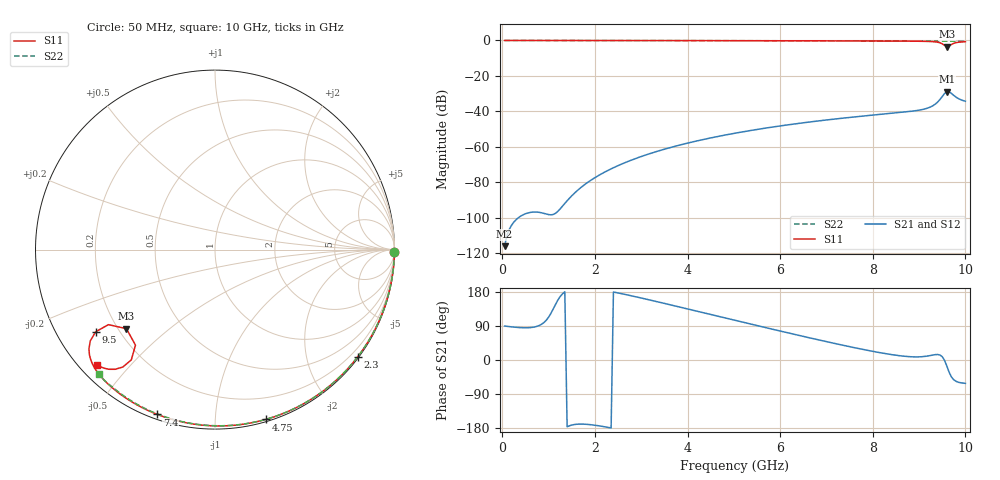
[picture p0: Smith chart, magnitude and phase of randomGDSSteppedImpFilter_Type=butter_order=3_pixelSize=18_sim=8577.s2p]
! freq	dB(S11)	phase(S11)	dB(S12)	phase(S12)
!  dB(S21)	phase(S21)	dB(S22)	phase(S22)
!S-par simulation data
#  GHz  S  DB  R 50
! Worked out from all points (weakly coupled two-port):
!   200 points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, 50 MHz to 10 GHz, reference 50 ohm
!   highest |S21| = -28.88 dB at 9.6 GHz (marker M1); lowest = -116.2 dB at 50 MHz (marker M2)
!   lowest |S11| = -3.6 dB at 9.6 GHz (marker M3), VSWR 4.91, Z = 11.6 - j18.2 ohm
!   |S11| at or under -10 dB: nowhere
!   |S22| runs from -0.4 to 0.0 dB; largest |S21 - S12| = 0
!   S11 on the Smith chart (normalised r, x): 50 MHz: open; 2.3 GHz: 0.03, -3.00; 4.75 GHz: 0.02, -1.34; 7.4 GHz: 0.02, -0.71; 9.5 GHz: 0.12, -0.31; 10 GHz: 0.05, -0.41
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0.05  -0.00 -0.8  -116.18 89.6  -116.18 89.6  -0.00 -0.8
0.9  -0.02 -14.6  -97.67 98.9  -97.67 98.9  -0.02 -13.8
1.75  -0.04 -28.2  -81.97 -169.3  -81.97 -169.3  -0.03 -26.5
1.85  -0.04 -29.8  -80.06 -170.0  -80.06 -170.0  -0.04 -28.0
2.3  -0.05 -36.8  -73.16 -178.2  -73.16 -178.2  -0.04 -34.7
2.8  -0.06 -44.5  -67.46 169.1  -67.46 169.1  -0.05 -41.9
3.4  -0.07 -53.6  -62.18 152.3  -62.18 152.3  -0.07 -50.5
4  -0.09 -62.5  -57.98 134.8  -57.98 134.8  -0.08 -58.9
4.75  -0.11 -73.3  -53.73 112.8  -53.73 112.8  -0.10 -69.1
5.05  -0.12 -77.6  -52.26 104.0  -52.26 104.0  -0.11 -73.1
6.7  -0.19 -100.0  -45.84 56.7  -45.84 56.7  -0.18 -94.2
7.4  -0.24 -109.3  -43.75 37.7  -43.75 37.7  -0.22 -102.7
8.35  -0.32 -122.0  -41.29 15.3  -41.29 15.3  -0.29 -114.0
9.15  -0.51 -134.7  -38.48 9.9  -38.48 9.9  -0.36 -123.3
9.35  -0.79 -140.0  -35.95 14.2  -35.95 14.2  -0.38 -125.5
9.5  -1.86 -145.5  -31.67 8.7  -31.67 8.7  -0.40 -127.2
9.55  -2.78 -144.8  -29.96 -0.9  -29.96 -0.9  -0.40 -127.8
9.6  -3.59 -138.2  -28.88 -16.2  -28.88 -16.2  -0.39 -128.3
9.65  -3.19 -129.8  -28.98 -32.7  -28.98 -32.7  -0.39 -128.9
9.75  -1.60 -128.1  -31.05 -52.3  -31.05 -52.3  -0.41 -130.1
9.85  -1.00 -131.6  -32.85 -58.7  -32.85 -58.7  -0.42 -131.3
10  -0.73 -135.7  -34.31 -61.7  -34.31 -61.7  -0.44 -133.0
